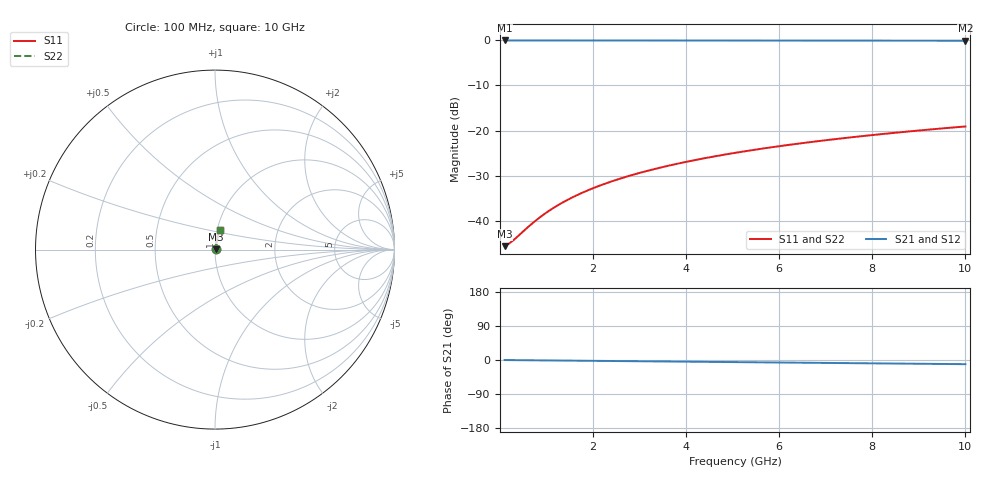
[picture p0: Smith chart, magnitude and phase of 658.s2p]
# Hz S RI R 50.00
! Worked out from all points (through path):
!   100 points, 100 MHz to 10 GHz, reference 50 ohm
!   highest |S21| = -0.04 dB at 100 MHz (marker M1); lowest = -0.1 dB at 10 GHz (marker M2)
!   group delay of S21, straight-line fit = 3.06 ps
!   lowest |S11| = -45.6 dB at 100 MHz (marker M3), VSWR 1.01, Z = 50.5 + j0.112 ohm
!   |S11| at or under -10 dB: start of sweep to end of sweep
!   |S22| runs from -45.6 to -19.1 dB; largest |S21 - S12| = 0
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1e8  0.00512 0.00111  0.9949 -0.00191  0.9949 -0.00191  0.00512 0.00111
2e8  0.00516 0.00222  0.9948 -0.00383  0.9948 -0.00383  0.00516 0.00222
3e8  0.0052 0.00332  0.9948 -0.00574  0.9948 -0.00574  0.0052 0.00332
7e8  0.00535 0.00775  0.9946 -0.0134  0.9946 -0.0134  0.00535 0.00775
8e8  0.00539 0.00886  0.9946 -0.0153  0.9946 -0.0153  0.00539 0.00886
1e9  0.00549 0.0111  0.9945 -0.0191  0.9945 -0.0191  0.00549 0.0111
1.2e9  0.0056 0.0133  0.9943 -0.023  0.9943 -0.023  0.0056 0.0133
1.4e9  0.00573 0.0155  0.9942 -0.0268  0.9942 -0.0268  0.00573 0.0155
1.6e9  0.00587 0.0177  0.994 -0.0306  0.994 -0.0306  0.00587 0.0177
1.8e9  0.00603 0.0199  0.9938 -0.0344  0.9938 -0.0344  0.00603 0.0199
2.1e9  0.0063 0.0232  0.9935 -0.0401  0.9935 -0.0401  0.0063 0.0232
2.5e9  0.00672 0.0276  0.9931 -0.0478  0.9931 -0.0478  0.00672 0.0276
2.9e9  0.0072 0.032  0.9925 -0.0554  0.9925 -0.0554  0.0072 0.032
3.4e9  0.00789 0.0375  0.9917 -0.0649  0.9917 -0.0649  0.00789 0.0375
3.8e9  0.00852 0.0419  0.991 -0.0725  0.991 -0.0725  0.00852 0.0419
4.2e9  0.00922 0.0463  0.9902 -0.0801  0.9902 -0.0801  0.00922 0.0463
5.1e9  0.011 0.0561  0.9881 -0.0972  0.9881 -0.0972  0.011 0.0561
5.9e9  0.0129 0.0647  0.9859 -0.1123  0.9859 -0.1123  0.0129 0.0647
6.7e9  0.0151 0.0733  0.9834 -0.1274  0.9834 -0.1274  0.0151 0.0733
7.5e9  0.0175 0.0818  0.9806 -0.1423  0.9806 -0.1423  0.0175 0.0818
8.4e9  0.0205 0.0912  0.9771 -0.1591  0.9771 -0.1591  0.0205 0.0912
1e10  0.0267 0.1077  0.9699 -0.1886  0.9699 -0.1886  0.0267 0.1077
